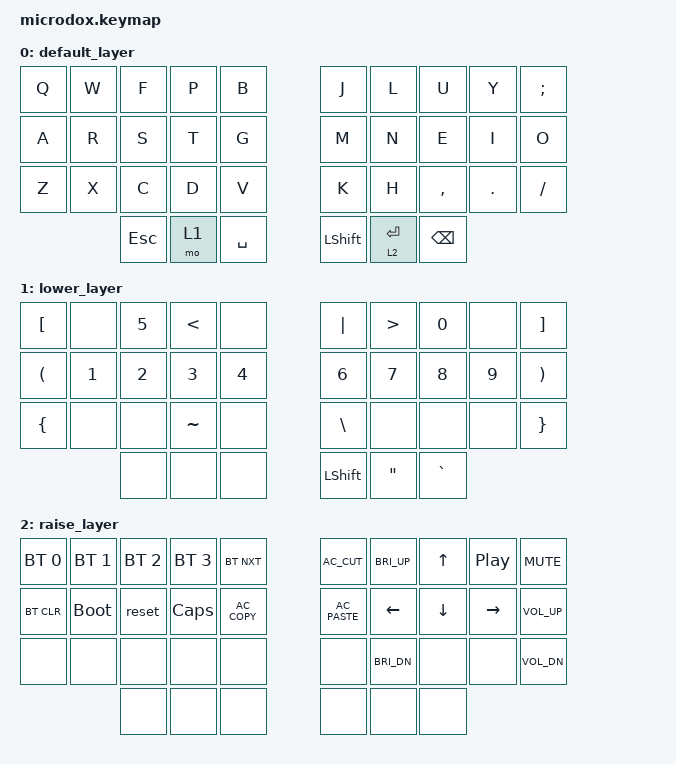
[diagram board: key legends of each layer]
/*
 * Copyright (c) 2020 The ZMK Contributors
 * PHK
 * SPDX-License-Identifier: MIT
 */

#include <behaviors.dtsi>
#include <dt-bindings/zmk/keys.h>
#include <dt-bindings/zmk/bt.h> 

/ {
    combos {
        compatible = "zmk,combos";
        
         combo_tab {
            timeout-ms = <50>;
            key-positions = <12 17>;
            bindings = <&kp TAB>;
        };
        
         combo_esc {
            timeout-ms = <50>;
            key-positions = <13 16>;
            bindings = <&kp ESC>;
        };
        
        combo_minus {
            timeout-ms = <50>;
            key-positions = <14 15>;
            bindings = <&kp MINUS>;
        };
        
        combo_under {
            timeout-ms = <50>;
            key-positions = <4 5>;
            bindings = <&kp UNDER>;
        };
        
        combo_equal {
            timeout-ms = <50>;
            key-positions = <3 6>;
            bindings = <&kp EQUAL>;
        };
        
        combo_sqt {
            timeout-ms = <50>;
            key-positions = <11 18>;
            bindings = <&kp SQT>;
        };
        
        hm_llalt {
            timeout-ms = <50>;
            key-positions = <13 14>;
            bindings = <&kp LALT>;
        };
        
        hm_llgui {
            timeout-ms = <50>;
            key-positions = <12 13>;
            bindings = <&kp LGUI>;
        };
        
        hm_llctrl {
            timeout-ms = <50>;
            key-positions = <11 12>;
            bindings = <&kp LCTRL>;
        };
        
        hm_rlgui {
            timeout-ms = <50>;
            key-positions = <16 17>;
            bindings = <&kp LGUI>;
        };
        
        hm_rlalt {
            timeout-ms = <50>;
            key-positions = <15 16>;
            bindings = <&kp LALT>;
        };
        
        hm_rlctrl {
            timeout-ms = <50>;
            key-positions = <17 18>;
            bindings = <&kp LCTRL>;
        };
        
    };
};

/ {

keymap {
                compatible = "zmk,keymap";

                default_layer {
                
                        bindings = <
   &kp Q &kp W &kp F &kp P &kp B   &kp J &kp L  &kp U     &kp Y   &kp SEMI
   &kp A &kp R &kp S &kp T &kp G   &kp M &kp N  &kp E &kp I &kp O
   &kp Z &kp X &kp C &kp D &kp V   &kp K &kp H  &kp COMMA &kp DOT &kp FSLH
           &kp ESC &mo 1 &kp SPACE &kp LSHIFT &lt 2 ENTER &kp BSPC                                                                                          
           >;
                };

                lower_layer {

                        bindings = < 
   
   &kp LBKT    &none   &kp N5   &kp LT    &none    &kp PIPE   &kp GT    &kp N0     &none    &kp RBKT
   &kp LPAR    &kp N1   &kp N2   &kp N3    &kp N4    &kp N6   &kp N7    &kp N8     &kp N9    &kp RPAR
   &kp LBRC   &none   &none   &kp TILDE &none     &kp BSLH   &none    &none     &none    &kp RBRC
                      &none   &none    &none      &kp LSHIFT    &kp DQT   &kp GRAVE  
                    >;
                };
                
                raise_layer {

                        bindings = <
   &bt BT_SEL 0   &bt BT_SEL 1  &bt BT_SEL 2  &bt BT_SEL 3  &bt BT_NXT  &kp C_AC_CUT   &kp C_BRI_UP   &kp UP    &kp C_PP  &kp C_MUTE
   &bt BT_CLR     &bootloader   &reset        &kp CAPS      &kp C_AC_COPY &kp C_AC_PASTE &kp LEFT &kp DOWN  &kp RIGHT &kp C_VOL_UP
   &none         &none        &none        &none        &none        &none         &kp C_BRI_DN   &none    &none    &kp C_VOL_DN
                                &none        &none        &none        &none         &none   &none
                        >;
                };    
        };
};
